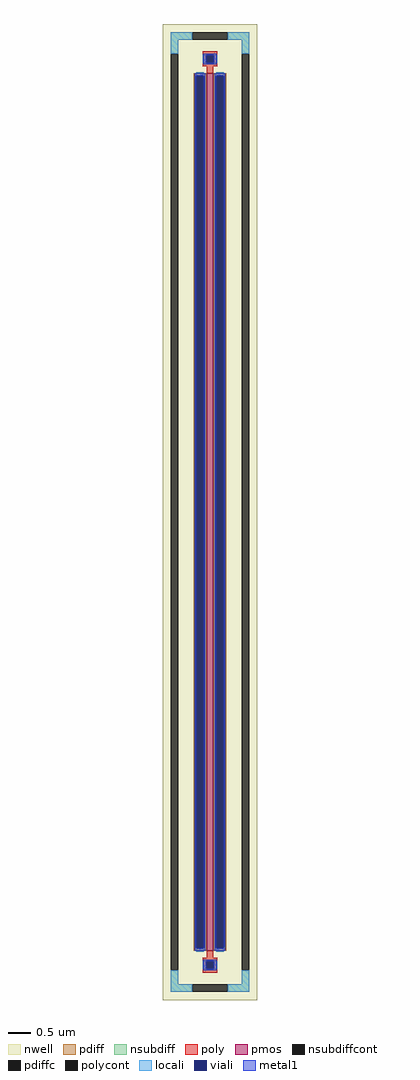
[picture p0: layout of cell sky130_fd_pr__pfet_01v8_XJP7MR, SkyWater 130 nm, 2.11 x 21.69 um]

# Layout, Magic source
magic
tech sky130A
magscale 1 2
<< nwell >>
rect -211 -2169 211 2169
<< pmos >>
rect -15 -1950 15 1950
<< pdiff >>
rect -73 1938 -15 1950
rect -73 -1938 -61 1938
rect -27 -1938 -15 1938
rect -73 -1950 -15 -1938
rect 15 1938 73 1950
rect 15 -1938 27 1938
rect 61 -1938 73 1938
rect 15 -1950 73 -1938
<< pdiffc >>
rect -61 -1938 -27 1938
rect 27 -1938 61 1938
<< nsubdiff >>
rect -175 2099 -79 2133
rect 79 2099 175 2133
rect -175 2037 -141 2099
rect 141 2037 175 2099
rect -175 -2099 -141 -2037
rect 141 -2099 175 -2037
rect -175 -2133 -79 -2099
rect 79 -2133 175 -2099
<< nsubdiffcont >>
rect -79 2099 79 2133
rect -175 -2037 -141 2037
rect 141 -2037 175 2037
rect -79 -2133 79 -2099
<< poly >>
rect -33 2031 33 2047
rect -33 1997 -17 2031
rect 17 1997 33 2031
rect -33 1981 33 1997
rect -15 1950 15 1981
rect -15 -1981 15 -1950
rect -33 -1997 33 -1981
rect -33 -2031 -17 -1997
rect 17 -2031 33 -1997
rect -33 -2047 33 -2031
<< polycont >>
rect -17 1997 17 2031
rect -17 -2031 17 -1997
<< locali >>
rect -175 2099 -79 2133
rect 79 2099 175 2133
rect -175 2037 -141 2099
rect 141 2037 175 2099
rect -33 1997 -17 2031
rect 17 1997 33 2031
rect -61 1938 -27 1954
rect -61 -1954 -27 -1938
rect 27 1938 61 1954
rect 27 -1954 61 -1938
rect -33 -2031 -17 -1997
rect 17 -2031 33 -1997
rect -175 -2099 -141 -2037
rect 141 -2099 175 -2037
rect -175 -2133 -79 -2099
rect 79 -2133 175 -2099
<< viali >>
rect -17 1997 17 2031
rect -61 -1938 -27 1938
rect 27 -1938 61 1938
rect -17 -2031 17 -1997
<< metal1 >>
rect -29 2031 29 2037
rect -29 1997 -17 2031
rect 17 1997 29 2031
rect -29 1991 29 1997
rect -67 1938 -21 1950
rect -67 -1938 -61 1938
rect -27 -1938 -21 1938
rect -67 -1950 -21 -1938
rect 21 1938 67 1950
rect 21 -1938 27 1938
rect 61 -1938 67 1938
rect 21 -1950 67 -1938
rect -29 -1997 29 -1991
rect -29 -2031 -17 -1997
rect 17 -2031 29 -1997
rect -29 -2037 29 -2031
<< properties >>
string FIXED_BBOX -158 -2116 158 2116
string gencell sky130_fd_pr__pfet_01v8
string library sky130
string parameters w 19.5 l 0.15 m 1 nf 1 diffcov 100 polycov 100 guard 1 glc 1 grc 1 gtc 1 gbc 1 tbcov 100 rlcov 100 topc 1 botc 1 poverlap 0 doverlap 1 lmin 0.15 wmin 0.42 compatible {sky130_fd_pr__pfet_01v8  sky130_fd_pr__pfet_01v8_lvt sky130_fd_pr__pfet_01v8_hvt  sky130_fd_pr__pfet_g5v0d10v5} full_metal 1 viasrc 100 viadrn 100 viagate 100 viagb 0 viagr 0 viagl 0 viagt 0
<< end >>
